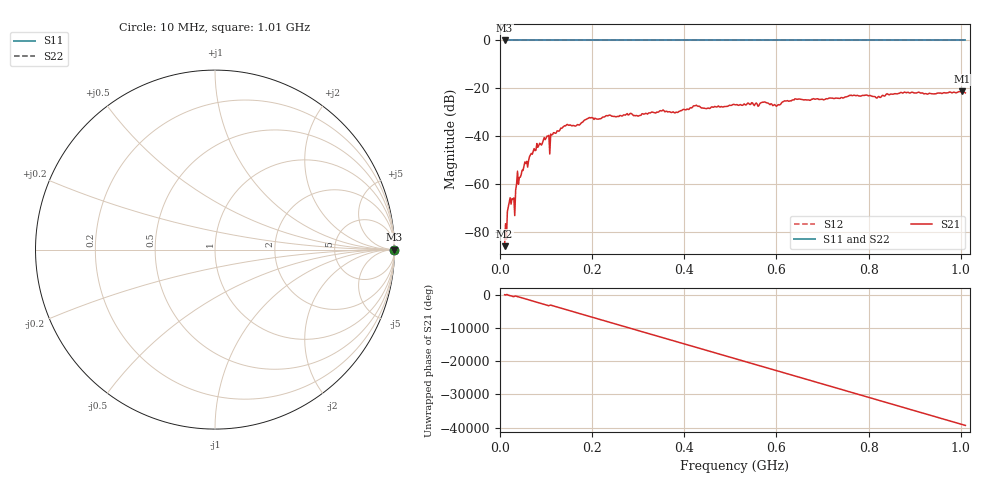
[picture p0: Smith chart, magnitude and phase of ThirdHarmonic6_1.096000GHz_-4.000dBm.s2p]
! 8/16/2025 10:14:48 AM
! C:\ANRITSUVNA\TEMP\TEMP.S2P
! CHANNEL.1
! TR.MEASUREMENT
! RAW.DATA
! RF.CORRECTION.OFF
! AVERAGING.OFF
! IF.BANDWIDTH: 5KHZ
! SWEEPTYPE:  FREQ.SWEEP(Linear)
! Reference Plane Port Info
! PORT:  PORT1  PORT2
! DISTANCE:  0  m  0  m
! TIME:  0  s  0  s
! PHASE.OFFSET:  0  deg.  0  deg.
! LOSS:  0  dB  0  dB
! REF.LOSS:  0  dB  0  dB
! REF.FREQ:  0  Hz  0  Hz
! Power Info
! POWER:  -20  dBm  -20  dBm
! EFF.POWER:  -20  dBm  -20  dBm
! SOURCE.ATTEN:  0  dB  0  dB
! TEST.ATTEN:  0  dB  0  dB
# GHZ S RI R 50.0
! FREQ.GHZ  S11RE  S11IM  S21RE  S21IM  S12RE  S12IM  S22RE  S22IM
!; PortSelection: Port_12
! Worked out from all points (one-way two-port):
!   501 points, 10 MHz to 1.01 GHz, reference 50 ohm
!   highest |S21| = -21.23 dB at 1.002 GHz (marker M1); lowest = -85.8 dB at 10 MHz (marker M2)
!   lowest |S11| = 0.0 dB at 10 MHz (marker M3)
!   |S11| at or under -10 dB: nowhere
!   |S22| runs from 0.0 to 0.0 dB; largest |S21 - S12| = 1.1
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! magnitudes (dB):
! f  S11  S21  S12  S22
! 10 MHz  0.0  -85.8  0.0  0.0
! 20 MHz  0.0  -67.5  0.0  0.0
! 26 MHz  0.0  -65.9  0.0  0.0
! 28 MHz  0.0  -66.2  0.0  0.0
! 40 MHz  0.0  -59.9  0.0  0.0
! 70 MHz  0.0  -47.5  0.0  0.0
! 100 MHz  0.0  -40.7  0.0  0.0
! 112 MHz  0.0  -39.3  0.0  0.0
! 114 MHz  0.0  -39.3  0.0  0.0
! 142 MHz  0.0  -35.6  0.0  0.0
! 178 MHz  0.0  -34.2  0.0  0.0
! 196 MHz  0.0  -32.3  0.0  0.0
! 344 MHz  0.0  -29.8  0.0  0.0
! 424 MHz  0.0  -27.2  0.0  0.0
! 510 MHz  0.0  -26.8  0.0  0.0
! 572 MHz  0.0  -25.7  0.0  0.0
! 602 MHz  0.0  -27.1  0.0  0.0
! 620 MHz  0.0  -25.3  0.0  0.0
! 678 MHz  0.0  -24.5  0.0  0.0
! 844 MHz  0.0  -22.7  0.0  0.0
! 1.002 GHz  0.0  -21.2  0.0  0.0
! 1.01 GHz  0.0  -21.9  0.0  0.0
